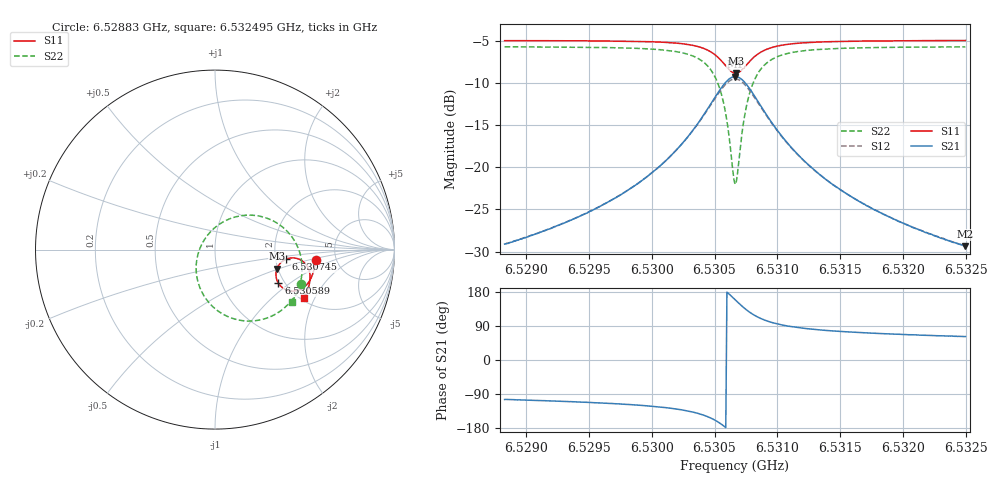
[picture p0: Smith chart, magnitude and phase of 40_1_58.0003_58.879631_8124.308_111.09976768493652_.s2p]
#  HZ  S  RI  R  50.00
! Rohde & Schwarz Vector Network Analyzer
! Rohde-Schwarz,ZNB20-2Port,1311601062101988,3.16
! Created: UTC 3/21/2024, 12:52:02 AM
! freq[Hz]  re:S11  im:S11  re:S21  im:S21  re:S12  im:S12  re:S22  im:S22
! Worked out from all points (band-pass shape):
!   401 points, 6.52883 GHz to 6.532495 GHz, reference 50 ohm
!   highest |S21| = -9.23 dB at 6.530663 GHz (marker M1); lowest = -29.3 dB at 6.532495 GHz (marker M2)
!   |S21| within 3 dB of the highest: 6.530481 GHz to 6.530848 GHz (366.8 kHz wide, 0.00562 % of centre)
!   lowest |S11| = -8.8 dB at 6.530672 GHz (marker M3), VSWR 2.13, Z = 98.8 - j24.1 ohm
!   |S11| at or under -10 dB: nowhere
!   |S22| runs from -22.0 to -5.7 dB; largest |S21 - S12| = 0.015
!   S11 on the Smith chart (normalised r, x): 6.52883 GHz: 3.47, -0.60; 6.530589 GHz: 1.85, -0.83; 6.530745 GHz: 2.28, -0.29; 6.532495 GHz: 2.08, -1.66
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6.5288303e9  0.5608 -0.0594  -0.00864 -0.034  -0.00922 -0.0339  0.4818 -0.1916
6.5294442e9  0.5512 -0.1126  -0.0188 -0.0485  -0.0199 -0.0481  0.4488 -0.2536
6.5297649e9  0.5411 -0.1445  -0.0309 -0.0623  -0.0327 -0.0617  0.4169 -0.2952
6.5300581e9  0.5235 -0.1793  -0.0559 -0.0836  -0.0584 -0.082  0.3605 -0.345
6.530278e9  0.4932 -0.2115  -0.1031 -0.1072  -0.1064 -0.1033  0.2654 -0.3886
6.5304337e9  0.4435 -0.2309  -0.1828 -0.1139  -0.1855 -0.1057  0.1192 -0.3895
6.5305254e9  0.392 -0.222  -0.2635 -0.0805  -0.2619 -0.0687  -0.0142 -0.3161
6.530562e9  0.3689 -0.206  -0.2983 -0.0459  -0.2931 -0.0334  -0.0657 -0.2503
6.5305895e9  0.3534 -0.1873  -0.3198 -0.00897  -0.3117 0.00267  -0.0937 -0.1843
6.5306445e9  0.3395 -0.1347  -0.332 0.0873  -0.3191 0.094  -0.0941 -0.0231
6.5306628e9  0.3424 -0.1154  -0.3234 0.1212  -0.3098 0.1254  -0.0732 0.0308
6.530672e9  0.3454 -0.1061  -0.3165 0.1376  -0.3031 0.1403  -0.0588 0.0559
6.5306903e9  0.3541 -0.0886  -0.2984 0.1672  -0.2852 0.1679  -0.0235 0.1009
6.5307086e9  0.3658 -0.0739  -0.2753 0.1922  -0.2633 0.1908  0.0188 0.1374
6.5307453e9  0.3947 -0.0539  -0.2221 0.2251  -0.213 0.2212  0.1128 0.182
6.5308094e9  0.445 -0.047  -0.1337 0.2357  -0.1295 0.2313  0.2616 0.1833
6.530901e9  0.4915 -0.0673  -0.0549 0.2044  -0.053 0.2019  0.3907 0.1132
6.5310385e9  0.5201 -0.1051  -0.00622 0.1516  -0.00514 0.1508  0.4641 0.00664
6.5312767e9  0.5298 -0.152  0.015 0.0978  0.0161 0.0973  0.4857 -0.1055
6.5315699e9  0.5258 -0.1904  0.0188 0.0656  0.0198 0.0653  0.4769 -0.1791
6.5318906e9  0.5168 -0.2224  0.0183 0.0474  0.0192 0.0471  0.4607 -0.2285
6.5324953e9  0.496 -0.2712  0.0161 0.0301  0.0168 0.0297  0.4293 -0.2896
